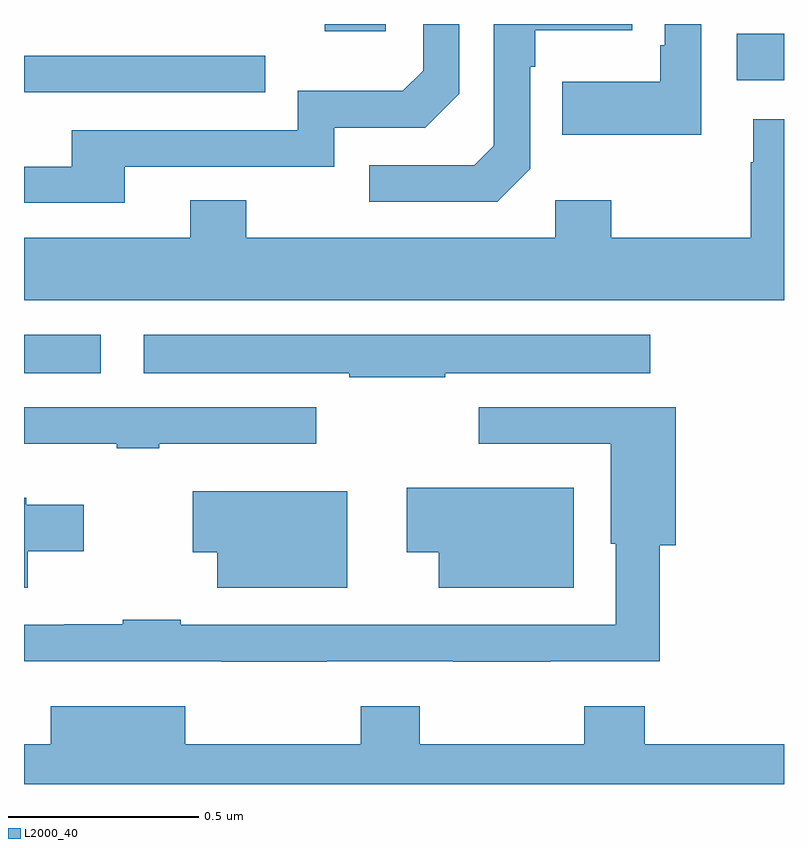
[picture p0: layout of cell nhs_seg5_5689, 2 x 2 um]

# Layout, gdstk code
import gdstk
lib = gdstk.Library(unit=1e-6, precision=1e-09)
def R(c, l, rs):  # rectangles x0, y0, x1, y1
    for r in rs: c.add(gdstk.rectangle(r[:2], r[2:], *l))
def P(c, l, *ps):  # polygons
    for p in ps: c.add(gdstk.Polygon(p, *l))
L2000_40 = (2000, 40)

nhs_seg5_5689 = lib.new_cell('nhs_seg5_5689')
R(nhs_seg5_5689, L2000_40, [(186,877.88,186.202,877.981), (186,878.619,186.635,878.715), (187.875,878.651,188,878.773), (186.791,878.78,186.952,878.799)])
P(nhs_seg5_5689, L2000_40, [(187.782,878.799),(187.686,878.799),(187.686,878.743),(187.674,878.743),(187.674,878.647),(187.417,878.647),(187.417,878.507),(187.782,878.507)],
  [(187.332,878.418),(187.332,878.687),(187.345,878.687),(187.345,878.783),(187.601,878.783),(187.601,878.799),(187.236,878.799),(187.236,878.478),(187.185,878.427),(186.909,878.427),(186.909,878.331),(187.245,878.331)],
  [(186.265,878.424),(186.816,878.424),(186.816,878.526),(187.056,878.526),(187.146,878.616),(187.146,878.799),(187.05,878.799),(187.05,878.676),(186.997,878.623),(186.72,878.623),(186.72,878.52),(186.125,878.52),(186.125,878.424),(186,878.424),(186,878.328),(186.265,878.328)],
  [(188,878.548),(187.919,878.548),(187.919,878.435),(187.912,878.435),(187.912,878.236),(187.545,878.236),(187.545,878.335),(187.398,878.335),(187.398,878.236),(186.585,878.236),(186.585,878.335),(186.437,878.335),(186.437,878.236),(186,878.236),(186,878.072),(188,878.072)],
  [(187.109,877.88),(187.648,877.88),(187.648,877.981),(186.315,877.981),(186.315,877.88),(186.856,877.88),(186.856,877.87),(187.109,877.87)],
  [(186.797,877.122),(187.129,877.122),(187.129,877.121),(187.385,877.121),(187.385,877.122),(187.673,877.122),(187.673,877.427),(187.715,877.427),(187.715,877.791),(187.197,877.791),(187.197,877.695),(187.544,877.695),(187.544,877.431),(187.557,877.431),(187.557,877.218),(186.413,877.218),(186.413,877.231),(186.26,877.231),(186.26,877.22),(186.106,877.22),(186.106,877.218),(186,877.218),(186,877.122),(186.52,877.122),(186.52,877.121),(186.797,877.121)],
  [(186.356,877.695),(186.769,877.695),(186.769,877.791),(186,877.791),(186,877.694),(186.244,877.694),(186.244,877.683),(186.356,877.683)],
  [(187.447,877.579),(187.007,877.579),(187.007,877.409),(187.091,877.409),(187.091,877.316),(187.447,877.316)],
  [(186.85,877.57),(186.444,877.57),(186.444,877.409),(186.509,877.409),(186.509,877.316),(186.85,877.316)],
  [(186.01,877.412),(186.157,877.412),(186.157,877.534),(186.006,877.534),(186.006,877.552),(186,877.552),(186,877.316),(186.01,877.316)],
  [(188,876.904),(187.634,876.904),(187.634,877.003),(187.474,877.003),(187.474,876.904),(187.041,876.904),(187.041,877.003),(186.886,877.003),(186.886,876.904),(186.424,876.904),(186.424,877.003),(186.071,877.003),(186.071,876.904),(186,876.904),(186,876.799),(188,876.799)])

lib.write_gds('nhs_seg5_5689.gds')
